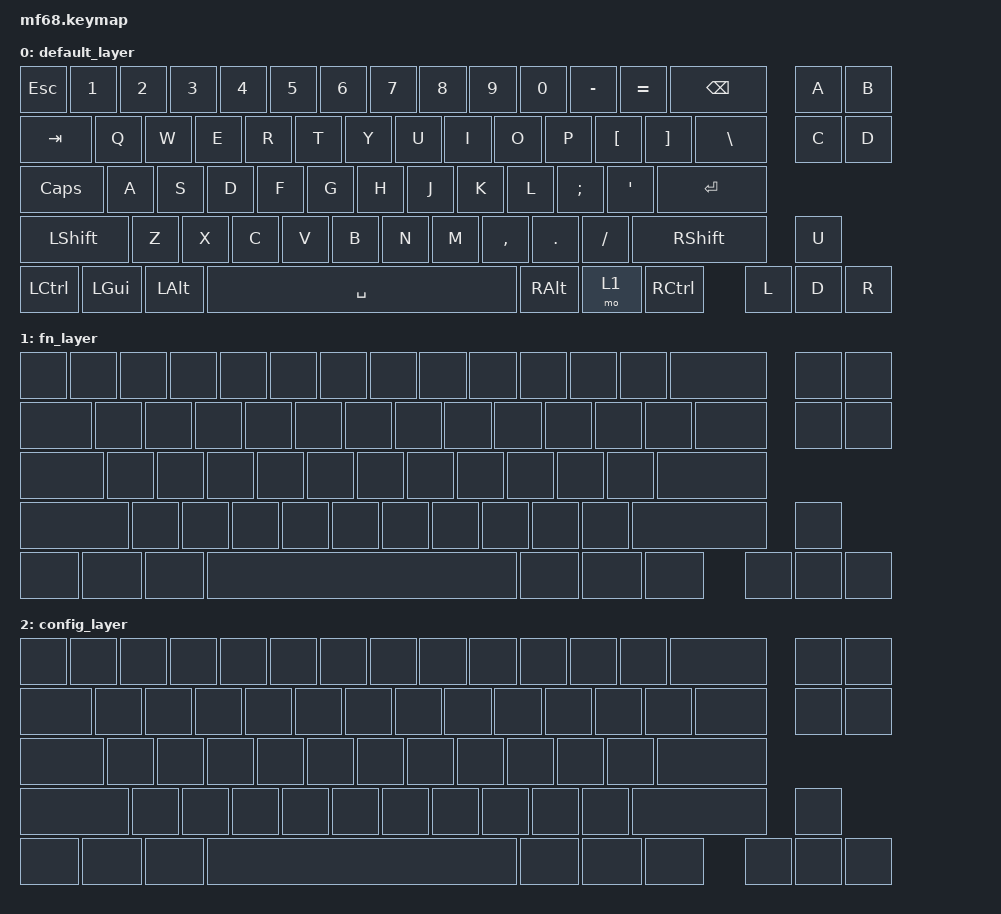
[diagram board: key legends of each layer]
/*
 * Copyright (c) 2020 The ZMK Contributors
 *
 * SPDX-License-Identifier: MIT
 */

#include <behaviors.dtsi>
#include <dt-bindings/zmk/keys.h>

/ {
    keymap0: combos {
        compatible = "zmk,combos";

        unlock {
            bindings = <&studio_unlock>;
            key-positions = <0 16>;
        };
    };

    keymap {
        compatible = "zmk,keymap";

        default_layer {
            // ------------------------------------------------------------------------------------------
            // | ESC |  1  |  2  |  3  |  4  |  5  |  6  |  7  |  8  |  9  |  0  |  -  |  =  |   BSPC   |    |  A  |  B  |
            // | TAB  |  Q  |  W  |  E  |  R  |  T  |  Y  |  U  |  I  |  O  |  P  |  [  |  ]  |    \    |    |  C  |  D  |
            // | CAPS  |  A  |  S  |  D  |  F  |  G  |  H  |  J  |  K  |  L  |  ;  |  '  |     ENTER    |
            // |  SHIFT  |  Z  |  X  |  C  |  V  |  B  |  N  |  M  |  ,  |  .  |  /  |      SHIFT       |    |  UP |     |
            // |  CTL  |  WIN  |  ALT  |            SPACE               | ALT | MO(1) |  WIN  | CTRL    | LFT| DOWN|RIGT |
            // ------------------------------------------------------------------------------------------

            bindings = <
  &kp ESC    &kp N1  &kp N2  &kp N3  &kp N4  &kp N5     &kp N6   &kp N7    &kp N8     &kp N9  &kp N0     &kp MINUS  &kp EQUAL  &kp BSPC   &kp A     &kp B
  &kp TAB    &kp Q   &kp W   &kp E   &kp R   &kp T      &kp Y    &kp U     &kp I      &kp O   &kp P      &kp LBKT   &kp RBKT   &kp BSLH   &kp C     &kp D
  &kp CLCK   &kp A   &kp S   &kp D   &kp F   &kp G      &kp H    &kp J     &kp K      &kp L   &kp SEMI   &kp SQT    &kp RET    &kp LSHFT  &kp Z     &kp X
  &kp C      &kp V   &kp B   &kp N   &kp M   &kp COMMA  &kp DOT  &kp FSLH  &kp RSHFT  &kp U   &kp LCTRL  &kp LGUI   &kp LALT   &kp SPACE  &kp RALT  &mo 1
  &kp RCTRL  &kp L   &kp D   &kp R
            >;
        };
        fn_layer {
            bindings = <
            &none &none &none &none &none &none &none &none &none &none &none &none &none &none &none &none 
            &none &none &none &none &none &none &none &none &none &none &none &none &none &none &none &none 
            &none &none &none &none &none &none &none &none &none &none &none &none &none
            &none &none &none &none &none &none &none &none &none &none &none &none &none
            &none &none &none &none &none &none &none &none &none &none
            >;
        };
        config_layer {
            bindings = <
            &none &none &none &none &none &none &none &none &none &none &none &none &none &none &none &none 
            &none &none &none &none &none &none &none &none &none &none &none &none &none &none &none &none 
            &none &none &none &none &none &none &none &none &none &none &none &none &none
            &none &none &none &none &none &none &none &none &none &none &none &none &none
            &none &none &none &none &none &none &none &none &none &none
            >;
        };
    };
};
